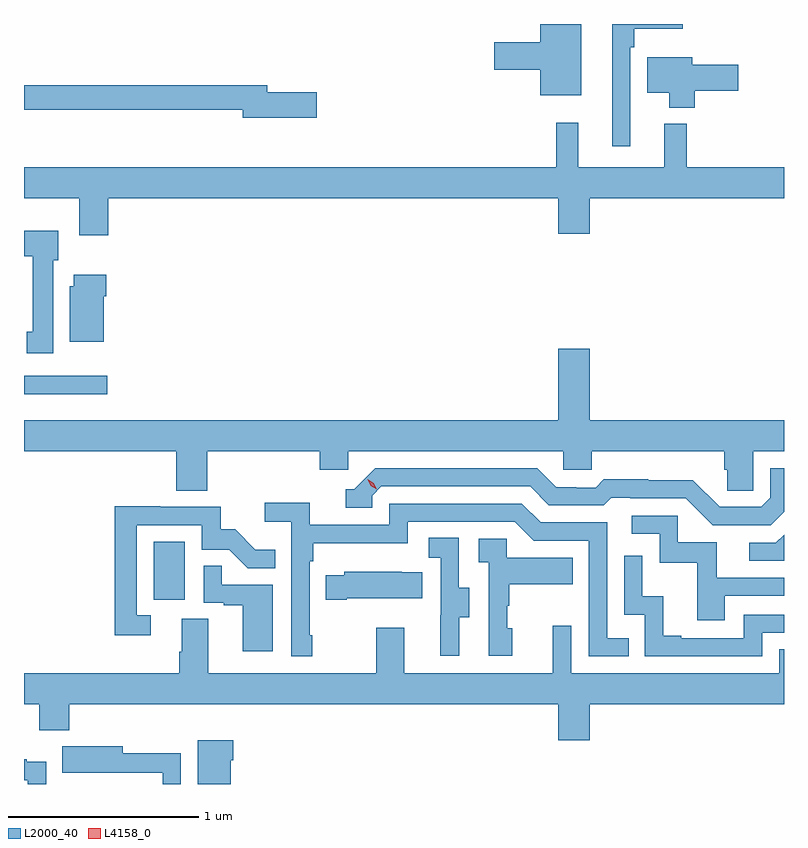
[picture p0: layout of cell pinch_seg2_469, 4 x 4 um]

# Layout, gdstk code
import gdstk
lib = gdstk.Library(unit=1e-6, precision=1e-09)
def R(c, l, rs):  # rectangles x0, y0, x1, y1
    for r in rs: c.add(gdstk.rectangle(r[:2], r[2:], *l))
def P(c, l, *ps):  # polygons
    for p in ps: c.add(gdstk.Polygon(p, *l))
L2000_40 = (2000, 40)
L4158_0 = (4158, 0)

pinch_seg2_469 = lib.new_cell('pinch_seg2_469')
R(pinch_seg2_469, L2000_40, [(930.11,593.574,930.274,593.881), (929.427,594.656,929.866,594.753)])
P(pinch_seg2_469, L2000_40, [(932.619,596.483),(932.639,596.483),(932.639,596.579),(932.893,596.579),(932.893,596.605),(932.522,596.605),(932.522,595.962),(932.619,595.962)],
  [(932.359,596.605),(932.144,596.605),(932.144,596.51),(931.902,596.51),(931.902,596.363),(932.144,596.363),(932.144,596.231),(932.359,596.231)],
  [(932.957,596.254),(933.187,596.254),(933.187,596.391),(932.944,596.391),(932.944,596.431),(932.708,596.431),(932.708,596.243),(932.822,596.243),(932.822,596.165),(932.957,596.165)],
  [(930.967,596.246),(930.706,596.246),(930.706,596.282),(929.427,596.282),(929.427,596.154),(930.578,596.154),(930.578,596.111),(930.967,596.111)],
  [(929.87,595.688),(932.24,595.688),(932.24,595.5),(932.404,595.5),(932.404,595.688),(933.427,595.688),(933.427,595.852),(932.915,595.852),(932.915,596.08),(932.798,596.08),(932.798,595.852),(932.345,595.852),(932.345,596.086),(932.227,596.086),(932.227,595.852),(929.427,595.852),(929.427,595.688),(929.717,595.688),(929.717,595.494),(929.87,595.494)],
  [(929.581,595.362),(929.608,595.362),(929.608,595.516),(929.427,595.516),(929.427,595.382),(929.474,595.382),(929.474,594.986),(929.441,594.986),(929.441,594.873),(929.581,594.873)],
  [(929.848,595.172),(929.861,595.172),(929.861,595.285),(929.69,595.285),(929.69,595.224),(929.669,595.224),(929.669,594.932),(929.848,594.932)],
  [(930.392,594.356),(930.983,594.356),(930.983,594.258),(931.134,594.258),(931.134,594.356),(932.265,594.356),(932.265,594.258),(932.415,594.258),(932.415,594.356),(933.113,594.356),(933.113,594.258),(933.127,594.258),(933.127,594.148),(933.264,594.148),(933.264,594.356),(933.427,594.356),(933.427,594.52),(932.404,594.52),(932.404,594.895),(932.24,594.895),(932.24,594.52),(929.427,594.52),(929.427,594.356),(930.227,594.356),(930.227,594.148),(930.392,594.148)],
  [(933.427,594.037),(933.427,594.267),(933.354,594.267),(933.354,594.111),(933.306,594.063),(933.09,594.063),(932.948,594.205),(932.712,594.205),(932.712,594.208),(932.479,594.208),(932.437,594.165),(932.334,594.165),(932.334,594.168),(932.227,594.168),(932.128,594.267),(931.275,594.267),(931.164,594.156),(931.121,594.156),(931.121,594.06),(931.26,594.06),(931.26,594.123),(931.308,594.171),(932.091,594.171),(932.19,594.072),(932.479,594.072),(932.518,594.111),(932.617,594.111),(932.617,594.108),(932.91,594.108),(933.051,593.967),(933.357,593.967)],
  [(930.943,593.389),(930.93,593.389),(930.93,593.777),(930.95,593.777),(930.95,593.873),(931.446,593.873),(931.446,593.985),(932.01,593.985),(932.109,593.886),(932.4,593.886),(932.4,593.277),(932.609,593.277),(932.609,593.373),(932.496,593.373),(932.496,593.982),(932.146,593.982),(932.047,594.081),(931.35,594.081),(931.35,593.97),(930.932,593.97),(930.932,594.086),(930.693,594.086),(930.693,593.984),(930.834,593.984),(930.834,593.277),(930.943,593.277)],
  [(930.094,593.493),(930.021,593.493),(930.021,593.967),(930.363,593.967),(930.363,593.838),(930.507,593.838),(930.605,593.74),(930.749,593.74),(930.749,593.839),(930.645,593.839),(930.538,593.946),(930.462,593.946),(930.462,594.063),(930.143,594.063),(930.143,594.068),(929.905,594.068),(929.905,593.388),(930.094,593.388)],
  [(933.115,593.595),(933.427,593.595),(933.427,593.691),(933.073,593.691),(933.073,593.877),(932.868,593.877),(932.868,594.018),(932.625,594.018),(932.625,593.922),(932.772,593.922),(932.772,593.769),(932.971,593.769),(932.971,593.466),(933.115,593.466)],
  [(933.427,593.917),(933.384,593.874),(933.243,593.874),(933.243,593.781),(933.427,593.781)],
  [(931.717,593.482),(931.771,593.482),(931.771,593.637),(931.716,593.637),(931.716,593.9),(931.557,593.9),(931.557,593.797),(931.62,593.797),(931.62,593.493),(931.619,593.493),(931.619,593.28),(931.717,593.28)],
  [(931.996,593.424),(931.971,593.424),(931.971,593.543),(931.981,593.543),(931.981,593.657),(932.315,593.657),(932.315,593.797),(931.968,593.797),(931.968,593.895),(931.821,593.895),(931.821,593.771),(931.872,593.771),(931.872,593.28),(931.996,593.28)],
  [(933.312,593.4),(933.427,593.4),(933.427,593.496),(933.216,593.496),(933.216,593.373),(932.887,593.373),(932.887,593.386),(932.792,593.386),(932.792,593.594),(932.682,593.594),(932.682,593.806),(932.586,593.806),(932.586,593.496),(932.694,593.496),(932.694,593.277),(933.312,593.277)],
  [(930.736,593.655),(930.467,593.655),(930.467,593.753),(930.372,593.753),(930.372,593.559),(930.479,593.559),(930.479,593.547),(930.578,593.547),(930.578,593.304),(930.736,593.304)],
  [(931.126,593.582),(931.523,593.582),(931.523,593.719),(931.415,593.719),(931.415,593.722),(931.113,593.722),(931.113,593.704),(931.015,593.704),(931.015,593.575),(931.126,593.575)],
  [(932.404,593.024),(933.427,593.024),(933.427,593.315),(933.402,593.315),(933.402,593.188),(932.307,593.188),(932.307,593.437),(932.21,593.437),(932.21,593.188),(931.429,593.188),(931.429,593.428),(931.282,593.428),(931.282,593.188),(930.397,593.188),(930.397,593.474),(930.257,593.474),(930.257,593.3),(930.245,593.3),(930.245,593.188),(929.427,593.188),(929.427,593.024),(929.506,593.024),(929.506,592.889),(929.666,592.889),(929.666,593.024),(932.24,593.024),(932.24,592.836),(932.404,592.836)],
  [(930.514,592.73),(930.527,592.73),(930.527,592.834),(930.341,592.834),(930.341,592.605),(930.514,592.605)],
  [(930.252,592.766),(929.947,592.766),(929.947,592.804),(929.629,592.804),(929.629,592.664),(929.843,592.664),(929.843,592.665),(930.156,592.665),(930.156,592.605),(930.252,592.605)],
  [(929.544,592.723),(929.441,592.723),(929.441,592.735),(929.427,592.735),(929.427,592.626),(929.448,592.626),(929.448,592.605),(929.544,592.605)])
P(pinch_seg2_469, L4158_0, [(931.283,594.156),(931.252,594.175),(931.235,594.208),(931.235,594.208),(931.236,594.208),(931.267,594.189),(931.283,594.157),(931.283,594.156)])

lib.write_gds('pinch_seg2_469.gds')
